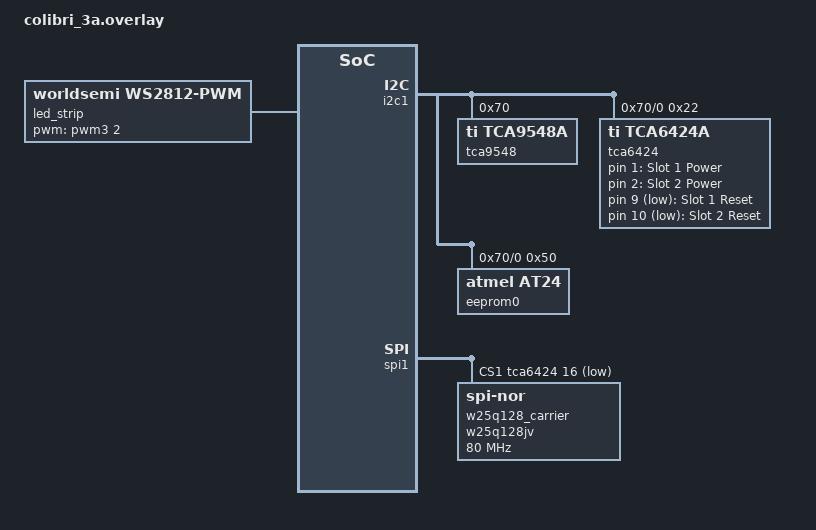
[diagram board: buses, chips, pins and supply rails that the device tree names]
#include <zephyr/dt-bindings/gpio/gpio.h>
#include <zephyr/dt-bindings/pwm/pwm.h>
#include <zephyr/dt-bindings/led/led.h>
#include <zephyr/dt-bindings/dma/stm32_dma.h>

&i2c1 {
	status = "okay";

	/* I2C Multiplexer */
	tca9548: tca9548a@70 {
		compatible = "ti,tca9548a";
		reg = <0x70>;
		#address-cells = <1>;
		#size-cells = <0>;
		status = "okay";

		i2c_chan0: i2c@0 {
			reg = <0>;
			#address-cells = <1>;
			#size-cells = <0>;

			/* I/O Expander */
			tca6424: tca6424@22 {
				compatible = "ti,tca6424a";
				reg = <0x22>;
				gpio-controller;
				#gpio-cells = <2>;
				ngpios = <24>;
				status = "okay";
			};

			/* M24M01 EEPROM (1Mbit) */
			eeprom0: m24m01@50 {
				compatible = "atmel,at24";
				reg = <0x50>;
				size = <131072>;
				pagesize = <256>;
				address-width = <16>;
				timeout = <5>;
				status = "okay";
			};
		};

		i2c_chan1: i2c@1 {
			reg = <1>;
			#address-cells = <1>;
			#size-cells = <0>;
		};

		i2c_chan2: i2c@2 {
			reg = <2>;
			#address-cells = <1>;
			#size-cells = <0>;
		};
	};
};

/ {
	aliases {
		led-strip = &led_strip;
	};

	/* Power and Reset control for slots */
	slot_ctrl {
		compatible = "gpio-leds";
		slot1_pwr: slot1_pwr {
			gpios = <&tca6424 1 GPIO_ACTIVE_HIGH>;
			label = "Slot 1 Power";
		};
		slot2_pwr: slot2_pwr {
			gpios = <&tca6424 2 GPIO_ACTIVE_HIGH>;
			label = "Slot 2 Power";
		};
		slot1_rst: slot1_rst {
			gpios = <&tca6424 9 GPIO_ACTIVE_LOW>;
			label = "Slot 1 Reset";
		};
		slot2_rst: slot2_rst {
			gpios = <&tca6424 10 GPIO_ACTIVE_LOW>;
			label = "Slot 2 Reset";
		};
	};

	/* LED_STATUS on PB5 (TIM3_CH2) driven as WS2812B via PWM + DMA. */
	led_strip: ws2812 {
		compatible = "worldsemi,ws2812-pwm";
		chain-length = <1>;
		color-mapping = <LED_COLOR_ID_GREEN LED_COLOR_ID_RED LED_COLOR_ID_BLUE>;
		pwms = <&pwm3 2 PWM_NSEC(1250) PWM_POLARITY_INVERTED>;
		dmas = <&dma1 2 5
			(STM32_DMA_MEMORY_TO_PERIPH |
			 STM32_DMA_MEM_INC |
			 STM32_DMA_PERIPH_NO_INC |
			 STM32_DMA_PRIORITY_HIGH)
			0>;
		dma-names = "update";
	};
};

&spi1 {
	status = "okay";
	/* PB2 is index 0 (Onboard Flash), 
	 * TCA6424 P20 is index 1 (Carrier Board Flash),
	 * TCA6424 P21 is index 2 (Slot 1),
	 * TCA6424 P22 is index 3 (Slot 2)
	 * In Zephyr, TC6424A gpio numbers are linear 0..23
	 */
	cs-gpios = <&gpiob 2 GPIO_ACTIVE_LOW>,
			   <&tca6424 16 GPIO_ACTIVE_LOW>,
			   <&tca6424 17 GPIO_ACTIVE_LOW>,
			   <&tca6424 18 GPIO_ACTIVE_LOW>;

	/* Carrier Board Flash */
	w25q128_carrier: w25q128jv@1 {
		compatible = "jedec,spi-nor";
		reg = <1>;
		spi-max-frequency = <80000000>;
		size = <0x8000000>;
		jedec-id = [ef 40 18];
		status = "okay";
	};
};
